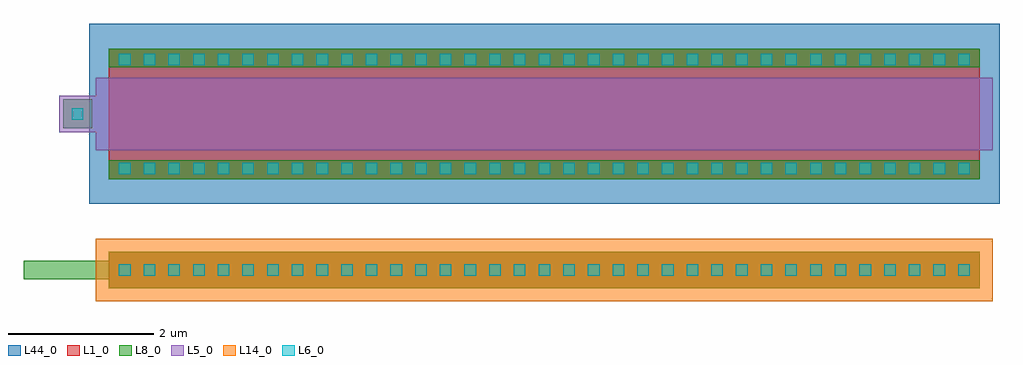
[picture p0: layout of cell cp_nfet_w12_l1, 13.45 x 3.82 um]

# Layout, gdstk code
import gdstk
lib = gdstk.Library(unit=1e-6, precision=1e-09)
def R(c, l, rs):  # rectangles x0, y0, x1, y1
    for r in rs: c.add(gdstk.rectangle(r[:2], r[2:], *l))
def A(c, l, x, y, w, h, nx, ny, dx, dy):  # array of equal rectangles
    R(c, l, [(x+i*dx, y+j*dy, x+i*dx+w, y+j*dy+h) for i in range(nx) for j in range(ny)])
L1_0 = (1, 0)
L5_0 = (5, 0)
L6_0 = (6, 0)
L8_0 = (8, 0)
L14_0 = (14, 0)
L44_0 = (44, 0)

cp_nfet_w12_l1 = lib.new_cell('cp_nfet_w12_l1')
R(cp_nfet_w12_l1, L1_0, [(1.3,0.96,13.3,1.46), (1.3,2.46,13.3,4.26)])
R(cp_nfet_w12_l1, L5_0, [(1.12,2.86,13.48,3.86), (0.62,3.11,1.12,3.61)])
A(cp_nfet_w12_l1, L6_0, 1.44, 1.13, 0.16, 0.16, 35, 2, 0.34, 1.4)
A(cp_nfet_w12_l1, L6_0, 1.44, 4.03, 0.16, 0.16, 35, 1, 0.34, 0)
R(cp_nfet_w12_l1, L6_0, [(0.79,3.28,0.95,3.44)])
R(cp_nfet_w12_l1, L8_0, [(1.3,0.96,13.3,1.46), (0.125,1.085,1.3,1.335), (1.3,2.46,13.3,2.72), (0.67,3.16,1.07,3.56), (1.3,4,13.3,4.26)])
R(cp_nfet_w12_l1, L14_0, [(1.12,0.78,13.48,1.64)])
R(cp_nfet_w12_l1, L44_0, [(1.03,2.12,13.57,4.6)])

lib.write_gds('cp_nfet_w12_l1.gds')
